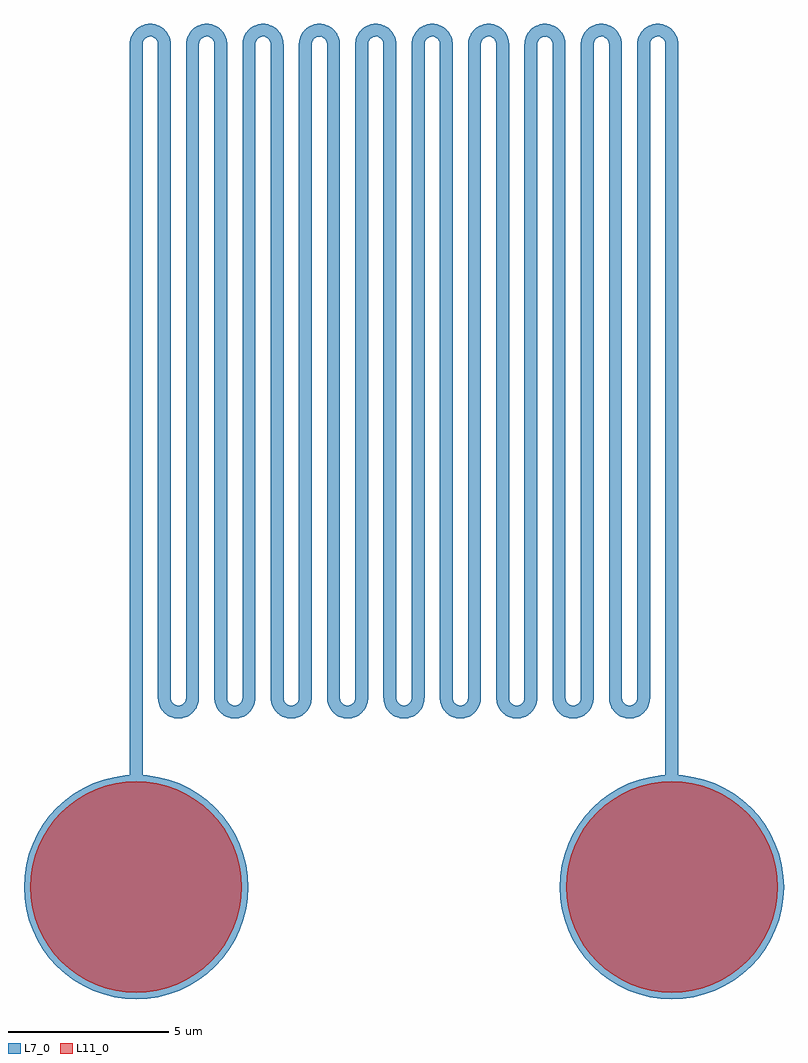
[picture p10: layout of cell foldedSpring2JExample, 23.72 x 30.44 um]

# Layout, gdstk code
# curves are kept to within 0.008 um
import gdstk
lib = gdstk.Library(unit=1e-6, precision=1e-09)
def P(c, l, *ps):  # polygons
    for p in ps: c.add(gdstk.Polygon(p, *l))
L7_0 = (7, 0)
L11_0 = (11, 0)

foldedspring2jexample = lib.new_cell('foldedSpring2JExample')
P(foldedspring2jexample, L7_0, [(0,-3.5),(-0.343,-3.483),(-0.683,-3.433),(-1.016,-3.349),(-1.339,-3.234),(-1.65,-3.087),(-1.944,-2.91),(-2.22,-2.706),(-2.475,-2.475),(-2.706,-2.22),(-2.91,-1.944),(-3.087,-1.65),(-3.234,-1.339),(-3.349,-1.016),(-3.433,-0.683),(-3.483,-0.343),(-3.5,0),(-3.483,0.343),(-3.433,0.683),(-3.349,1.016),(-3.234,1.339),(-3.087,1.65),(-2.91,1.944),(-2.706,2.22),(-2.475,2.475),(-2.22,2.706),(-1.944,2.91),(-1.65,3.087),(-1.339,3.234),(-1.016,3.349),(-0.683,3.433),(-0.343,3.483),(-0.2,3.49),(-0.2,11.72),(0.2,11.72),(0.2,3.49),(0.343,3.483),(0.683,3.433),(1.016,3.349),(1.339,3.234),(1.65,3.087),(1.944,2.91),(2.22,2.706),(2.475,2.475),(2.706,2.22),(2.91,1.944),(3.087,1.65),(3.234,1.339),(3.349,1.016),(3.433,0.683),(3.483,0.343),(3.5,0),(3.483,-0.343),(3.433,-0.683),(3.349,-1.016),(3.234,-1.339),(3.087,-1.65),(2.91,-1.944),(2.706,-2.22),(2.475,-2.475),(2.22,-2.706),(1.944,-2.91),(1.65,-3.087),(1.339,-3.234),(1.016,-3.349),(0.683,-3.433),(0.343,-3.483)],
  [(1.32,5.26),(1.195,5.272),(1.104,5.297),(0.991,5.351),(0.89,5.426),(0.806,5.519),(0.741,5.626),(0.699,5.744),(0.683,5.837),(0.68,11.72),(1.08,11.72),(1.08,5.888),(1.098,5.808),(1.15,5.73),(1.228,5.678),(1.308,5.66),(1.412,5.678),(1.49,5.73),(1.542,5.808),(1.56,5.888),(1.56,11.72),(1.96,11.72),(1.957,5.837),(1.941,5.744),(1.899,5.626),(1.834,5.519),(1.75,5.426),(1.649,5.351),(1.536,5.297),(1.445,5.272)],
  [(3.08,5.26),(2.955,5.272),(2.864,5.297),(2.751,5.351),(2.65,5.426),(2.566,5.519),(2.501,5.626),(2.459,5.744),(2.443,5.837),(2.44,11.72),(2.84,11.72),(2.84,5.888),(2.858,5.808),(2.91,5.73),(2.988,5.678),(3.068,5.66),(3.172,5.678),(3.25,5.73),(3.302,5.808),(3.32,5.888),(3.32,11.72),(3.72,11.72),(3.717,5.837),(3.701,5.744),(3.659,5.626),(3.594,5.519),(3.51,5.426),(3.409,5.351),(3.296,5.297),(3.205,5.272)],
  [(4.84,5.26),(4.715,5.272),(4.624,5.297),(4.511,5.351),(4.41,5.426),(4.326,5.519),(4.261,5.626),(4.219,5.744),(4.203,5.837),(4.2,11.72),(4.6,11.72),(4.6,5.888),(4.618,5.808),(4.67,5.73),(4.748,5.678),(4.828,5.66),(4.932,5.678),(5.01,5.73),(5.062,5.808),(5.08,5.888),(5.08,11.72),(5.48,11.72),(5.477,5.837),(5.461,5.744),(5.419,5.626),(5.354,5.519),(5.27,5.426),(5.169,5.351),(5.056,5.297),(4.965,5.272)],
  [(6.6,5.26),(6.475,5.272),(6.384,5.297),(6.271,5.351),(6.17,5.426),(6.086,5.519),(6.021,5.626),(5.979,5.744),(5.963,5.837),(5.96,11.72),(6.36,11.72),(6.36,5.888),(6.378,5.808),(6.43,5.73),(6.508,5.678),(6.588,5.66),(6.692,5.678),(6.77,5.73),(6.822,5.808),(6.84,5.888),(6.84,11.72),(7.24,11.72),(7.237,5.837),(7.221,5.744),(7.179,5.626),(7.114,5.519),(7.03,5.426),(6.929,5.351),(6.816,5.297),(6.725,5.272)],
  [(8.36,5.26),(8.235,5.272),(8.144,5.297),(8.031,5.351),(7.93,5.426),(7.846,5.519),(7.781,5.626),(7.739,5.744),(7.723,5.837),(7.72,11.72),(8.12,11.72),(8.12,5.888),(8.138,5.808),(8.19,5.73),(8.268,5.678),(8.36,5.66)],
  [(8.36,5.26),(8.36,5.66),(8.452,5.678),(8.53,5.73),(8.582,5.808),(8.6,5.888),(8.6,11.72),(9,11.72),(8.997,5.837),(8.981,5.744),(8.939,5.626),(8.874,5.519),(8.79,5.426),(8.689,5.351),(8.576,5.297),(8.485,5.272)],
  [(10.12,5.26),(9.995,5.272),(9.904,5.297),(9.791,5.351),(9.69,5.426),(9.606,5.519),(9.541,5.626),(9.499,5.744),(9.483,5.837),(9.48,11.72),(9.88,11.72),(9.88,5.888),(9.898,5.808),(9.95,5.73),(10.028,5.678),(10.108,5.66),(10.212,5.678),(10.29,5.73),(10.342,5.808),(10.36,5.888),(10.36,11.72),(10.76,11.72),(10.757,5.837),(10.741,5.744),(10.699,5.626),(10.634,5.519),(10.55,5.426),(10.449,5.351),(10.336,5.297),(10.245,5.272)],
  [(11.88,5.26),(11.755,5.272),(11.664,5.297),(11.551,5.351),(11.45,5.426),(11.366,5.519),(11.301,5.626),(11.259,5.744),(11.243,5.837),(11.24,11.72),(11.64,11.72),(11.64,5.888),(11.658,5.808),(11.71,5.73),(11.788,5.678),(11.868,5.66),(11.972,5.678),(12.05,5.73),(12.102,5.808),(12.12,5.888),(12.12,11.72),(12.52,11.72),(12.517,5.837),(12.501,5.744),(12.459,5.626),(12.394,5.519),(12.31,5.426),(12.209,5.351),(12.096,5.297),(12.005,5.272)],
  [(13.64,5.26),(13.515,5.272),(13.424,5.297),(13.311,5.351),(13.21,5.426),(13.126,5.519),(13.061,5.626),(13.019,5.744),(13.003,5.837),(13,11.72),(13.4,11.72),(13.4,5.888),(13.418,5.808),(13.47,5.73),(13.548,5.678),(13.628,5.66),(13.732,5.678),(13.81,5.73),(13.862,5.808),(13.88,5.888),(13.88,11.72),(14.28,11.72),(14.277,5.837),(14.261,5.744),(14.219,5.626),(14.154,5.519),(14.07,5.426),(13.969,5.351),(13.856,5.297),(13.765,5.272)],
  [(15.4,5.26),(15.275,5.272),(15.184,5.297),(15.071,5.351),(14.97,5.426),(14.886,5.519),(14.821,5.626),(14.779,5.744),(14.763,5.837),(14.76,11.72),(15.16,11.72),(15.16,5.888),(15.178,5.808),(15.23,5.73),(15.308,5.678),(15.388,5.66),(15.492,5.678),(15.57,5.73),(15.622,5.808),(15.64,5.888),(15.64,11.72),(16.04,11.72),(16.037,5.837),(16.021,5.744),(15.979,5.626),(15.914,5.519),(15.83,5.426),(15.729,5.351),(15.616,5.297),(15.525,5.272)],
  [(16.72,-3.5),(16.377,-3.483),(16.037,-3.433),(15.704,-3.349),(15.381,-3.234),(15.07,-3.087),(14.776,-2.91),(14.5,-2.706),(14.245,-2.475),(14.014,-2.22),(13.81,-1.944),(13.633,-1.65),(13.486,-1.339),(13.371,-1.016),(13.287,-0.683),(13.237,-0.343),(13.22,0),(13.237,0.343),(13.287,0.683),(13.371,1.016),(13.486,1.339),(13.633,1.65),(13.81,1.944),(14.014,2.22),(14.245,2.475),(14.5,2.706),(14.776,2.91),(15.07,3.087),(15.381,3.234),(15.704,3.349),(16.037,3.433),(16.377,3.483),(16.52,3.49),(16.52,11.72),(16.92,11.72),(16.92,3.49),(17.063,3.483),(17.403,3.433),(17.736,3.349),(18.059,3.234),(18.37,3.087),(18.664,2.91),(18.94,2.706),(19.195,2.475),(19.426,2.22),(19.63,1.944),(19.807,1.65),(19.954,1.339),(20.069,1.016),(20.153,0.683),(20.203,0.343),(20.22,0),(20.203,-0.343),(20.153,-0.683),(20.069,-1.016),(19.954,-1.339),(19.807,-1.65),(19.63,-1.944),(19.426,-2.22),(19.195,-2.475),(18.94,-2.706),(18.664,-2.91),(18.37,-3.087),(18.059,-3.234),(17.736,-3.349),(17.403,-3.433),(17.063,-3.483)],
  [(-0.2,11.72),(-0.199,26.331),(-0.181,26.456),(-0.139,26.574),(-0.074,26.681),(0.01,26.774),(0.111,26.849),(0.224,26.903),(0.346,26.933),(0.471,26.939),(0.596,26.921),(0.714,26.879),(0.796,26.832),(0.893,26.753),(0.972,26.656),(1.019,26.574),(1.061,26.456),(1.079,26.331),(1.08,11.72),(0.68,11.72),(0.68,26.312),(0.662,26.392),(0.61,26.47),(0.532,26.522),(0.452,26.54),(0.348,26.522),(0.27,26.47),(0.218,26.392),(0.2,26.312),(0.2,11.72)],
  [(1.56,11.72),(1.561,26.331),(1.579,26.456),(1.621,26.574),(1.686,26.681),(1.77,26.774),(1.871,26.849),(1.984,26.903),(2.106,26.933),(2.231,26.939),(2.356,26.921),(2.474,26.879),(2.556,26.832),(2.653,26.753),(2.732,26.656),(2.779,26.574),(2.821,26.456),(2.839,26.331),(2.84,11.72),(2.44,11.72),(2.44,26.312),(2.422,26.392),(2.37,26.47),(2.292,26.522),(2.212,26.54),(2.108,26.522),(2.03,26.47),(1.978,26.392),(1.96,26.312),(1.96,11.72)],
  [(3.32,11.72),(3.321,26.331),(3.339,26.456),(3.381,26.574),(3.446,26.681),(3.53,26.774),(3.631,26.849),(3.744,26.903),(3.866,26.933),(3.991,26.939),(4.116,26.921),(4.234,26.879),(4.316,26.832),(4.413,26.753),(4.492,26.656),(4.539,26.574),(4.581,26.456),(4.599,26.331),(4.6,11.72),(4.2,11.72),(4.2,26.312),(4.182,26.392),(4.13,26.47),(4.052,26.522),(3.972,26.54),(3.868,26.522),(3.79,26.47),(3.738,26.392),(3.72,26.312),(3.72,11.72)],
  [(5.08,11.72),(5.081,26.331),(5.099,26.456),(5.141,26.574),(5.206,26.681),(5.29,26.774),(5.391,26.849),(5.504,26.903),(5.626,26.933),(5.751,26.939),(5.876,26.921),(5.994,26.879),(6.076,26.832),(6.173,26.753),(6.252,26.656),(6.299,26.574),(6.341,26.456),(6.359,26.331),(6.36,11.72),(5.96,11.72),(5.96,26.312),(5.942,26.392),(5.89,26.47),(5.812,26.522),(5.732,26.54),(5.628,26.522),(5.55,26.47),(5.498,26.392),(5.48,26.312),(5.48,11.72)],
  [(6.84,11.72),(6.841,26.331),(6.859,26.456),(6.901,26.574),(6.966,26.681),(7.05,26.774),(7.151,26.849),(7.264,26.903),(7.386,26.933),(7.511,26.939),(7.636,26.921),(7.754,26.879),(7.836,26.832),(7.933,26.753),(8.012,26.656),(8.059,26.574),(8.101,26.456),(8.119,26.331),(8.12,11.72),(7.72,11.72),(7.72,26.312),(7.702,26.392),(7.65,26.47),(7.572,26.522),(7.492,26.54),(7.388,26.522),(7.31,26.47),(7.258,26.392),(7.24,26.312),(7.24,11.72)],
  [(8.6,11.72),(8.601,26.331),(8.619,26.456),(8.661,26.574),(8.726,26.681),(8.81,26.774),(8.911,26.849),(9.024,26.903),(9.146,26.933),(9.271,26.939),(9.396,26.921),(9.514,26.879),(9.596,26.832),(9.693,26.753),(9.772,26.656),(9.819,26.574),(9.861,26.456),(9.879,26.331),(9.88,11.72),(9.48,11.72),(9.48,26.312),(9.462,26.392),(9.41,26.47),(9.332,26.522),(9.252,26.54),(9.148,26.522),(9.07,26.47),(9.018,26.392),(9,26.312),(9,11.72)],
  [(10.36,11.72),(10.361,26.331),(10.379,26.456),(10.421,26.574),(10.486,26.681),(10.57,26.774),(10.671,26.849),(10.784,26.903),(10.906,26.933),(11.031,26.939),(11.156,26.921),(11.274,26.879),(11.356,26.832),(11.453,26.753),(11.532,26.656),(11.579,26.574),(11.621,26.456),(11.639,26.331),(11.64,11.72),(11.24,11.72),(11.24,26.312),(11.222,26.392),(11.17,26.47),(11.092,26.522),(11.012,26.54),(10.908,26.522),(10.83,26.47),(10.778,26.392),(10.76,26.312),(10.76,11.72)],
  [(12.12,11.72),(12.121,26.331),(12.139,26.456),(12.181,26.574),(12.246,26.681),(12.33,26.774),(12.431,26.849),(12.544,26.903),(12.666,26.933),(12.791,26.939),(12.916,26.921),(13.034,26.879),(13.116,26.832),(13.213,26.753),(13.292,26.656),(13.339,26.574),(13.381,26.456),(13.399,26.331),(13.4,11.72),(13,11.72),(13,26.312),(12.982,26.392),(12.93,26.47),(12.852,26.522),(12.772,26.54),(12.668,26.522),(12.59,26.47),(12.538,26.392),(12.52,26.312),(12.52,11.72)],
  [(13.88,11.72),(13.881,26.331),(13.899,26.456),(13.941,26.574),(14.006,26.681),(14.09,26.774),(14.191,26.849),(14.304,26.903),(14.426,26.933),(14.551,26.939),(14.676,26.921),(14.794,26.879),(14.876,26.832),(14.973,26.753),(15.052,26.656),(15.099,26.574),(15.141,26.456),(15.159,26.331),(15.16,11.72),(14.76,11.72),(14.76,26.312),(14.742,26.392),(14.69,26.47),(14.612,26.522),(14.532,26.54),(14.428,26.522),(14.35,26.47),(14.298,26.392),(14.28,26.312),(14.28,11.72)],
  [(15.64,11.72),(15.641,26.331),(15.659,26.456),(15.701,26.574),(15.766,26.681),(15.85,26.774),(15.951,26.849),(16.064,26.903),(16.186,26.933),(16.311,26.939),(16.436,26.921),(16.554,26.879),(16.636,26.832),(16.733,26.753),(16.812,26.656),(16.859,26.574),(16.901,26.456),(16.919,26.331),(16.92,11.72),(16.52,11.72),(16.52,26.312),(16.502,26.392),(16.45,26.47),(16.372,26.522),(16.292,26.54),(16.188,26.522),(16.11,26.47),(16.058,26.392),(16.04,26.312),(16.04,11.72)])
P(foldedspring2jexample, L11_0, [(0,-3.3),(-0.323,-3.284),(-0.644,-3.237),(-0.958,-3.158),(-1.263,-3.049),(-1.556,-2.91),(-1.833,-2.744),(-2.093,-2.551),(-2.333,-2.333),(-2.551,-2.093),(-2.744,-1.833),(-2.91,-1.556),(-3.049,-1.263),(-3.158,-0.958),(-3.237,-0.644),(-3.284,-0.323),(-3.3,0),(-3.284,0.323),(-3.237,0.644),(-3.158,0.958),(-3.049,1.263),(-2.91,1.556),(-2.744,1.833),(-2.551,2.093),(-2.333,2.333),(-2.093,2.551),(-1.833,2.744),(-1.556,2.91),(-1.263,3.049),(-0.958,3.158),(-0.644,3.237),(-0.323,3.284),(0,3.3),(0.323,3.284),(0.644,3.237),(0.958,3.158),(1.263,3.049),(1.556,2.91),(1.833,2.744),(2.093,2.551),(2.333,2.333),(2.551,2.093),(2.744,1.833),(2.91,1.556),(3.049,1.263),(3.158,0.958),(3.237,0.644),(3.284,0.323),(3.3,0),(3.284,-0.323),(3.237,-0.644),(3.158,-0.958),(3.049,-1.263),(2.91,-1.556),(2.744,-1.833),(2.551,-2.093),(2.333,-2.333),(2.093,-2.551),(1.833,-2.744),(1.556,-2.91),(1.263,-3.049),(0.958,-3.158),(0.644,-3.237),(0.323,-3.284)],
  [(16.72,-3.3),(16.397,-3.284),(16.076,-3.237),(15.762,-3.158),(15.457,-3.049),(15.164,-2.91),(14.887,-2.744),(14.627,-2.551),(14.387,-2.333),(14.169,-2.093),(13.976,-1.833),(13.81,-1.556),(13.671,-1.263),(13.562,-0.958),(13.483,-0.644),(13.436,-0.323),(13.42,0),(13.436,0.323),(13.483,0.644),(13.562,0.958),(13.671,1.263),(13.81,1.556),(13.976,1.833),(14.169,2.093),(14.387,2.333),(14.627,2.551),(14.887,2.744),(15.164,2.91),(15.457,3.049),(15.762,3.158),(16.076,3.237),(16.397,3.284),(16.72,3.3),(17.043,3.284),(17.364,3.237),(17.678,3.158),(17.983,3.049),(18.276,2.91),(18.553,2.744),(18.813,2.551),(19.053,2.333),(19.271,2.093),(19.464,1.833),(19.63,1.556),(19.769,1.263),(19.878,0.958),(19.957,0.644),(20.004,0.323),(20.02,0),(20.004,-0.323),(19.957,-0.644),(19.878,-0.958),(19.769,-1.263),(19.63,-1.556),(19.464,-1.833),(19.271,-2.093),(19.053,-2.333),(18.813,-2.551),(18.553,-2.744),(18.276,-2.91),(17.983,-3.049),(17.678,-3.158),(17.364,-3.237),(17.043,-3.284)])

lib.write_gds('foldedSpring2JExample.gds')
